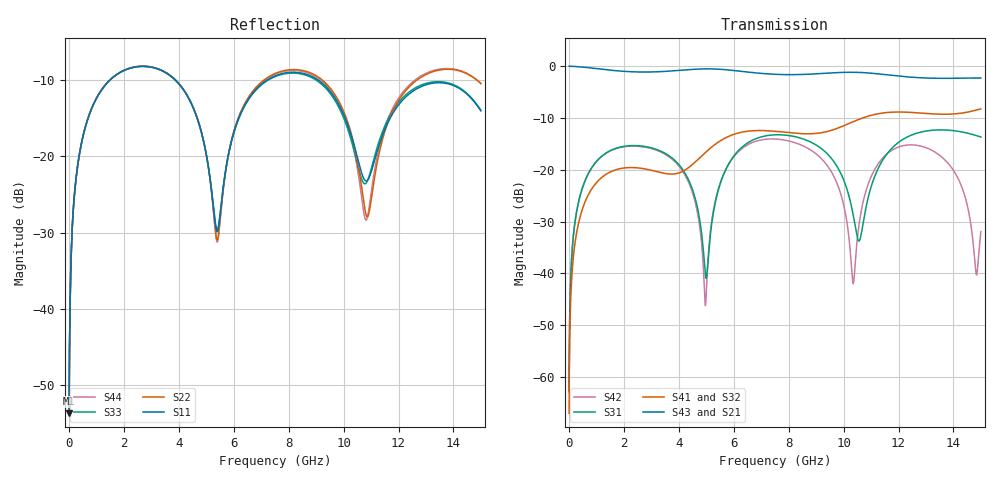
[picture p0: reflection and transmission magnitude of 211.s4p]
! Created with skrf 1.8.0 (http://scikit-rf.org).
# GHz S RI R 50.0
!freq ReS11 ImS11 ReS12 ImS12 ReS13 ImS13
! ReS14 ImS14
! ReS21 ImS21 ReS22 ImS22 ReS23 ImS23
! ReS24 ImS24
! ReS31 ImS31 ReS32 ImS32 ReS33 ImS33
! ReS34 ImS34
! ReS41 ImS41 ReS42 ImS42 ReS43 ImS43
! ReS44 ImS44
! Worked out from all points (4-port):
!   2499 points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, 5 MHz to 15 GHz, reference 50 ohm
!   strongest paths, dB at 5 MHz, 3.476 GHz, 7.19 GHz, 11.1 GHz, 15 GHz:
!     S43: 0.0, -1.0, -1.5, -1.4, -2.3
!     S21: 0.0, -1.0, -1.5, -1.4, -2.3
!     S41: -67.0, -20.7, -12.5, -9.4, -8.2
!     S32: -67.0, -20.7, -12.5, -9.4, -8.2
!     S31: -62.9, -16.8, -13.4, -21.8, -13.7
!     S42: -62.9, -16.9, -14.1, -20.3, -31.9
!   lowest |S11| = -53.6 dB at 5 MHz (marker M1), VSWR 1.00, Z = 50.2 + j0.126 ohm
!   |S11| at or under -10 dB: start of sweep to 1.503 GHz; 3.861 GHz to 7.236 GHz (3.375 GHz wide, 60.8 % of centre); 9.057 GHz to end of sweep
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0.005  0.00166 0.00125  0.9983 -0.00323  8.54e-05 0.000714  -8.25e-05 -0.000439
       0.9983 -0.00323  0.00166 0.00125  -8.25e-05 -0.000439  8.53e-05 0.000714
       8.54e-05 0.000714  -8.25e-05 -0.000439  0.00166 0.00125  0.9983 -0.00323
       -8.25e-05 -0.000439  8.53e-05 0.000714  0.9983 -0.00323  0.00166 0.00125
0.3626511  0.0308 0.0937  0.9573 -0.2309  0.016 0.0481  -0.013 -0.0289
           0.9573 -0.2309  0.0309 0.0937  -0.013 -0.0289  0.0156 0.0482
           0.016 0.0481  -0.013 -0.0289  0.0308 0.0937  0.9573 -0.2308
           -0.013 -0.0289  0.0156 0.0482  0.9573 -0.2308  0.0309 0.0937
1.77574  0.3103 0.152  0.445 -0.7817  0.156 0.0478  -0.1003 0.0129
         0.445 -0.7817  0.3118 0.1506  -0.1003 0.0129  0.1523 0.0543
         0.156 0.0478  -0.1003 0.0129  0.3103 0.1519  0.445 -0.7817
         -0.1003 0.0129  0.1523 0.0543  0.445 -0.7817  0.3118 0.1507
4.964569  0.0552 -0.0959  -0.884 -0.3192  -0.0086 -0.0049  -0.0453 0.1393
          -0.884 -0.3192  0.0512 -0.0983  -0.0452 0.1393  -0.0047 -0.00145
          -0.0086 -0.0049  -0.0452 0.1393  0.056 -0.096  -0.8838 -0.3195
          -0.0453 0.1393  -0.0047 -0.00145  -0.8838 -0.3195  0.0507 -0.0989
8.428512  0.3489 -0.0374  0.00692 0.8272  0.1658 -0.1154  0.2103 -0.0751
          0.00692 0.8272  0.3615 -0.0563  0.2099 -0.0748  0.1632 -0.0612
          0.1658 -0.1154  0.2099 -0.0748  0.3438 -0.0383  0.00675 0.8292
          0.2103 -0.0751  0.1632 -0.0612  0.00675 0.8292  0.3563 -0.0545
11.16715  0.084 0.0526  0.8465 -0.0237  0.0485 0.0767  -0.0281 -0.3419
          0.8465 -0.0237  0.0554 0.0578  -0.0274 -0.342  0.038 0.0971
          0.0485 0.0767  -0.0274 -0.342  0.0842 0.0632  0.8457 -0.0263
          -0.0281 -0.3419  0.038 0.0971  0.8457 -0.0263  0.0561 0.0684
15  0.1901 -0.0556  -0.4138 -0.6463  -0.1115 -0.1743  -0.3251 0.2099
    -0.4138 -0.6463  0.2601 -0.1472  -0.3242 0.2111  -0.00336 0.0251
    -0.1115 -0.1743  -0.3242 0.2111  0.1931 -0.0517  -0.4116 -0.6474
    -0.3251 0.2099  -0.00336 0.0251  -0.4116 -0.6474  0.2592 -0.1483
